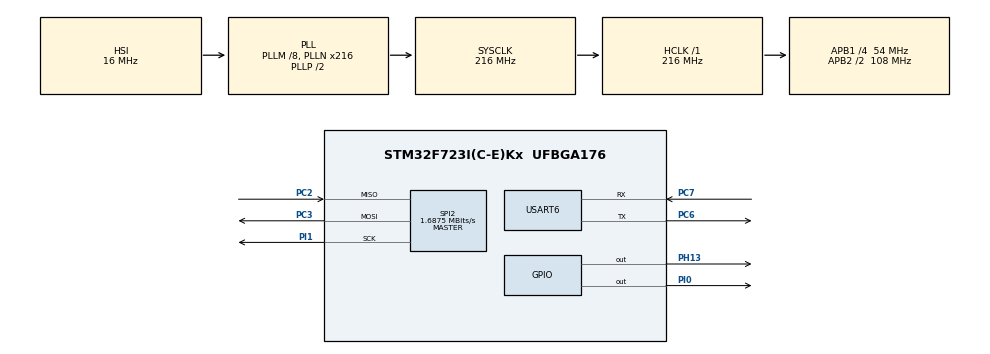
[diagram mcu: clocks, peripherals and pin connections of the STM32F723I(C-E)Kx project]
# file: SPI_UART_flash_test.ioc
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CORTEX_M7.CPU_ICache=Disabled
CORTEX_M7.PREFETCH_ENABLE=0
Mcu.Family=STM32F7
Mcu.Name=STM32F723I(C-E)Kx
Mcu.Package=UFBGA176
NVIC.PriorityGroup=NVIC_PRIORITYGROUP_4
NVIC.TIM1_UP_TIM10_IRQn=true\:0\:0\:false\:false\:true\:false
NVIC.TimeBase=TIM1_UP_TIM10_IRQn
NVIC.TimeBaseIP=TIM1
PA13.Mode=Serial_Wire
PA13.Signal=SYS_JTMS-SWDIO
PA14.Mode=Serial_Wire
PA14.Signal=SYS_JTCK-SWCLK
PC2.Mode=Full_Duplex_Master
PC2.Signal=SPI2_MISO
PC3.Mode=Full_Duplex_Master
PC3.Signal=SPI2_MOSI
PC6.Mode=Asynchronous
PC6.Signal=USART6_TX
PC7.Mode=Asynchronous
PC7.Signal=USART6_RX
PH0-OSC_IN.Mode=HSE-External-Oscillator
PH0-OSC_IN.Signal=RCC_OSC_IN
PH1-OSC_OUT.Mode=HSE-External-Oscillator
PH1-OSC_OUT.Signal=RCC_OSC_OUT
PH13.Signal=GPIO_Output
PI0.Signal=GPIO_Output
PI1.Mode=Full_Duplex_Master
PI1.Signal=SPI2_SCK
ProjectManager.HeapSize=0x200
ProjectManager.StackSize=0x400
ProjectManager.TargetToolchain=SW4STM32
RCC.AHBFreq_Value=216000000
RCC.APB1CLKDivider=RCC_HCLK_DIV4
RCC.APB1Freq_Value=54000000
RCC.APB1TimFreq_Value=108000000
RCC.APB2CLKDivider=RCC_HCLK_DIV2
RCC.APB2Freq_Value=108000000
RCC.APB2TimFreq_Value=216000000
RCC.CortexFreq_Value=216000000
RCC.HCLKFreq_Value=216000000
RCC.HSE_VALUE=25000000
RCC.HSI_VALUE=16000000
RCC.LSE_VALUE=32768
RCC.PLLM=8
RCC.PLLN=216
RCC.PLLQ=9
RCC.SYSCLKFreq_VALUE=216000000
RCC.SYSCLKSource=RCC_SYSCLKSOURCE_PLLCLK
RCC.USBFreq_Value=48000000
RCC.VCOOutputFreq_Value=432000000
SPI2.BaudRatePrescaler=SPI_BAUDRATEPRESCALER_32
SPI2.CalculateBaudRate=1.6875 MBits/s
SPI2.Direction=SPI_DIRECTION_2LINES
SPI2.Mode=SPI_MODE_MASTER
SPI2.VirtualType=VM_MASTER
USART6.VirtualMode-Asynchronous=VM_ASYNC
VP_SYS_VS_tim1.Mode=TIM1
board=32F723EDISCOVERY

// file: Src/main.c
/**
  ******************************************************************************
  * @file           : main.c
  * @brief          : Main program body
  ******************************************************************************
  ** This notice applies to any and all portions of this file
  * that are not between comment pairs USER CODE BEGIN and
  * USER CODE END. Other portions of this file, whether
  * inserted by the user or by software development tools
  * are owned by their respective copyright owners.
  *
  * COPYRIGHT(c) 2018 STMicroelectronics
  *
  * Redistribution and use in source and binary forms, with or without modification,
  * are permitted provided that the following conditions are met:
  *   1. Redistributions of source code must retain the above copyright notice,
  *      this list of conditions and the following disclaimer.
  *   2. Redistributions in binary form must reproduce the above copyright notice,
  *      this list of conditions and the following disclaimer in the documentation
  *      and/or other materials provided with the distribution.
  *   3. Neither the name of STMicroelectronics nor the names of its contributors
  *      may be used to endorse or promote products derived from this software
  *      without specific prior written permission.
  *
  * THIS SOFTWARE IS PROVIDED BY THE COPYRIGHT HOLDERS AND CONTRIBUTORS "AS IS"
  * AND ANY EXPRESS OR IMPLIED WARRANTIES, INCLUDING, BUT NOT LIMITED TO, THE
  * IMPLIED WARRANTIES OF MERCHANTABILITY AND FITNESS FOR A PARTICULAR PURPOSE ARE
  * DISCLAIMED. IN NO EVENT SHALL THE COPYRIGHT HOLDER OR CONTRIBUTORS BE LIABLE
  * FOR ANY DIRECT, INDIRECT, INCIDENTAL, SPECIAL, EXEMPLARY, OR CONSEQUENTIAL
  * DAMAGES (INCLUDING, BUT NOT LIMITED TO, PROCUREMENT OF SUBSTITUTE GOODS OR
  * SERVICES; LOSS OF USE, DATA, OR PROFITS; OR BUSINESS INTERRUPTION) HOWEVER
  * CAUSED AND ON ANY THEORY OF LIABILITY, WHETHER IN CONTRACT, STRICT LIABILITY,
  * OR TORT (INCLUDING NEGLIGENCE OR OTHERWISE) ARISING IN ANY WAY OUT OF THE USE
  * OF THIS SOFTWARE, EVEN IF ADVISED OF THE POSSIBILITY OF SUCH DAMAGE.
  *
  ******************************************************************************
  */
#include "main.h"
#include "stm32f7xx_hal.h"

SPI_HandleTypeDef hspi2;

UART_HandleTypeDef huart6;

/* USER CODE BEGIN PV */
/* Private variables ---------------------------------------------------------*/

/* USER CODE END PV */

void SystemClock_Config(void);
static void MX_GPIO_Init(void);
static void MX_SPI2_Init(void);
static void MX_USART6_UART_Init(void);

/* USER CODE BEGIN PFP */
/* Private function prototypes -----------------------------------------------*/

/* USER CODE END PFP */

int main(void)
{

  /* MCU Configuration----------------------------------------------------------*/

  /* Reset of all peripherals, Initializes the Flash interface and the Systick. */
  HAL_Init();

  /* Configure the system clock */
  SystemClock_Config();

  /* Initialize all configured peripherals */
  MX_GPIO_Init();
  MX_SPI2_Init();
  MX_USART6_UART_Init();
  /* USER CODE BEGIN 2 */

  HAL_UART_Transmit(&huart6,"START! UART OK!\r\n",strlen("START! UART OK!\r\n"),0xFFFF);

  char dataString[] = "\r\n888888888";

  uint8_t *result[sizeof(dataString)];

  uint8_t *reg;

  HAL_Delay(1000);

  /* USER CODE END 2 */

  /* Infinite loop */
  /* USER CODE BEGIN WHILE */
  while (1)
  {

	  	  uint8_t spiTxBuf[4] = {9, 0, 0, 0};
	 	  uint8_t spiRxBuf[2];

	 	//write method for
	  //SPI Receipt
	  	  //1.Bring slave select low
	  	  HAL_GPIO_WritePin(GPIOC, GPIO_PIN_3, GPIO_PIN_RESET);
	  	  //2.Transmit register + 0x80(to set most significant bit to high to enable read mode )

	  	  HAL_SPI_Transmit(&hspi2,spiTxBuf,4,HAL_MAX_DELAY);
	  	  //3.Receive data
	  	  HAL_SPI_Receive(&hspi2,spiRxBuf,2,HAL_MAX_DELAY);
	  	  //4.Bring slave select high
	  	  HAL_GPIO_WritePin(GPIOC, GPIO_PIN_3, GPIO_PIN_SET);
	  //all of this

	  reg = spiRxBuf;// in this variable i save received data from spi
	  char register_mes[256];
	  snprintf(register_mes, sizeof(register_mes), "\r\nregister = %d\r\n", reg);
	  HAL_UART_Transmit(&huart6,register_mes,strlen(register_mes), HAL_MAX_DELAY);
	  HAL_Delay(1000);

	  char msg1[256];

	  snprintf(msg1, sizeof(msg1),(char*)result);
	  HAL_UART_Transmit(&huart6, msg1, strlen(msg1),HAL_MAX_DELAY);

  /* USER CODE END WHILE */

  }

}

void SystemClock_Config(void)
{

  RCC_OscInitTypeDef RCC_OscInitStruct;
  RCC_ClkInitTypeDef RCC_ClkInitStruct;
  RCC_PeriphCLKInitTypeDef PeriphClkInitStruct;

    /**Configure the main internal regulator output voltage
    */
  __HAL_RCC_PWR_CLK_ENABLE();

  __HAL_PWR_VOLTAGESCALING_CONFIG(PWR_REGULATOR_VOLTAGE_SCALE1);

    /**Initializes the CPU, AHB and APB busses clocks
    */
  RCC_OscInitStruct.OscillatorType = RCC_OSCILLATORTYPE_HSI;
  RCC_OscInitStruct.HSIState = RCC_HSI_ON;
  RCC_OscInitStruct.HSICalibrationValue = 16;
  RCC_OscInitStruct.PLL.PLLState = RCC_PLL_ON;
  RCC_OscInitStruct.PLL.PLLSource = RCC_PLLSOURCE_HSI;
  RCC_OscInitStruct.PLL.PLLM = 8;
  RCC_OscInitStruct.PLL.PLLN = 216;
  RCC_OscInitStruct.PLL.PLLP = RCC_PLLP_DIV2;
  RCC_OscInitStruct.PLL.PLLQ = 9;
  if (HAL_RCC_OscConfig(&RCC_OscInitStruct) != HAL_OK)
  {
    _Error_Handler(__FILE__, __LINE__);
  }

    /**Activate the Over-Drive mode
    */
  if (HAL_PWREx_EnableOverDrive() != HAL_OK)
  {
    _Error_Handler(__FILE__, __LINE__);
  }

    /**Initializes the CPU, AHB and APB busses clocks
    */
  RCC_ClkInitStruct.ClockType = RCC_CLOCKTYPE_HCLK|RCC_CLOCKTYPE_SYSCLK
                              |RCC_CLOCKTYPE_PCLK1|RCC_CLOCKTYPE_PCLK2;
  RCC_ClkInitStruct.SYSCLKSource = RCC_SYSCLKSOURCE_PLLCLK;
  RCC_ClkInitStruct.AHBCLKDivider = RCC_SYSCLK_DIV1;
  RCC_ClkInitStruct.APB1CLKDivider = RCC_HCLK_DIV4;
  RCC_ClkInitStruct.APB2CLKDivider = RCC_HCLK_DIV2;

  if (HAL_RCC_ClockConfig(&RCC_ClkInitStruct, FLASH_LATENCY_7) != HAL_OK)
  {
    _Error_Handler(__FILE__, __LINE__);
  }

  PeriphClkInitStruct.PeriphClockSelection = RCC_PERIPHCLK_USART6;
  PeriphClkInitStruct.Usart6ClockSelection = RCC_USART6CLKSOURCE_PCLK2;
  if (HAL_RCCEx_PeriphCLKConfig(&PeriphClkInitStruct) != HAL_OK)
  {
    _Error_Handler(__FILE__, __LINE__);
  }

    /**Configure the Systick interrupt time
    */
  HAL_SYSTICK_Config(HAL_RCC_GetHCLKFreq()/1000);

    /**Configure the Systick
    */
  HAL_SYSTICK_CLKSourceConfig(SYSTICK_CLKSOURCE_HCLK);

  /* SysTick_IRQn interrupt configuration */
  HAL_NVIC_SetPriority(SysTick_IRQn, 0, 0);
}

/* SPI2 init function */
static void MX_SPI2_Init(void)
{

  /* SPI2 parameter configuration*/
  hspi2.Instance = SPI2;
  hspi2.Init.Mode = SPI_MODE_MASTER;
  hspi2.Init.Direction = SPI_DIRECTION_2LINES;
  hspi2.Init.DataSize = SPI_DATASIZE_8BIT;
  hspi2.Init.CLKPolarity = SPI_POLARITY_LOW;
  hspi2.Init.CLKPhase = SPI_PHASE_1EDGE;
  hspi2.Init.NSS = SPI_NSS_SOFT;
  hspi2.Init.BaudRatePrescaler = SPI_BAUDRATEPRESCALER_32;
  hspi2.Init.FirstBit = SPI_FIRSTBIT_MSB;
  hspi2.Init.TIMode = SPI_TIMODE_DISABLE;
  hspi2.Init.CRCCalculation = SPI_CRCCALCULATION_DISABLE;
  hspi2.Init.CRCPolynomial = 7;
  hspi2.Init.CRCLength = SPI_CRC_LENGTH_DATASIZE;
  hspi2.Init.NSSPMode = SPI_NSS_PULSE_ENABLE;
  if (HAL_SPI_Init(&hspi2) != HAL_OK)
  {
    _Error_Handler(__FILE__, __LINE__);
  }

}

/* USART6 init function */
static void MX_USART6_UART_Init(void)
{

  huart6.Instance = USART6;
  huart6.Init.BaudRate = 115200;
  huart6.Init.WordLength = UART_WORDLENGTH_8B;
  huart6.Init.StopBits = UART_STOPBITS_1;
  huart6.Init.Parity = UART_PARITY_NONE;
  huart6.Init.Mode = UART_MODE_TX_RX;
  huart6.Init.HwFlowCtl = UART_HWCONTROL_NONE;
  huart6.Init.OverSampling = UART_OVERSAMPLING_16;
  huart6.Init.OneBitSampling = UART_ONE_BIT_SAMPLE_DISABLE;
  huart6.AdvancedInit.AdvFeatureInit = UART_ADVFEATURE_NO_INIT;
  if (HAL_UART_Init(&huart6) != HAL_OK)
  {
    _Error_Handler(__FILE__, __LINE__);
  }

}

/** Configure pins as
        * Analog
        * Input
        * Output
        * EVENT_OUT
        * EXTI
*/
static void MX_GPIO_Init(void)
{

  GPIO_InitTypeDef GPIO_InitStruct;

  /* GPIO Ports Clock Enable */
  __HAL_RCC_GPIOA_CLK_ENABLE();
  __HAL_RCC_GPIOI_CLK_ENABLE();
  __HAL_RCC_GPIOH_CLK_ENABLE();
  __HAL_RCC_GPIOC_CLK_ENABLE();

  /*Configure GPIO pin Output Level */
  HAL_GPIO_WritePin(GPIOH, GPIO_PIN_13, GPIO_PIN_RESET);

  /*Configure GPIO pin Output Level */
  HAL_GPIO_WritePin(GPIOI, GPIO_PIN_0, GPIO_PIN_RESET);

  /*Configure GPIO pin : PH13 */
  GPIO_InitStruct.Pin = GPIO_PIN_13;
  GPIO_InitStruct.Mode = GPIO_MODE_OUTPUT_PP;
  GPIO_InitStruct.Pull = GPIO_NOPULL;
  GPIO_InitStruct.Speed = GPIO_SPEED_FREQ_LOW;
  HAL_GPIO_Init(GPIOH, &GPIO_InitStruct);

  /*Configure GPIO pin : PI0 */
  GPIO_InitStruct.Pin = GPIO_PIN_0;
  GPIO_InitStruct.Mode = GPIO_MODE_OUTPUT_PP;
  GPIO_InitStruct.Pull = GPIO_NOPULL;
  GPIO_InitStruct.Speed = GPIO_SPEED_FREQ_LOW;
  HAL_GPIO_Init(GPIOI, &GPIO_InitStruct);

}

void HAL_TIM_PeriodElapsedCallback(TIM_HandleTypeDef *htim)
{
  if (htim->Instance == TIM1) {
    HAL_IncTick();
  }
}

void _Error_Handler(char *file, int line)
{
  while(1)
  {
  }
}

/************************ (C) COPYRIGHT STMicroelectronics *****END OF FILE****/
